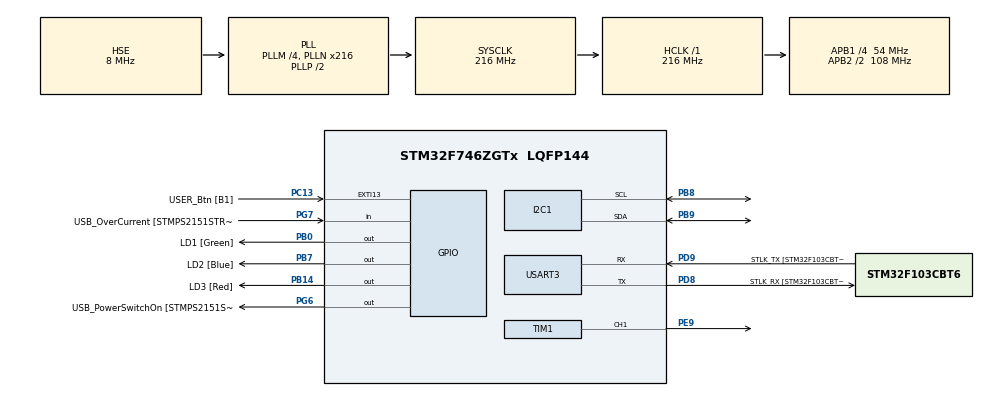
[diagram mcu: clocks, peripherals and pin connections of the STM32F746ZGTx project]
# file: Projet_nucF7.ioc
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I2C1.Timing=0x20404768
Mcu.Family=STM32F7
Mcu.Name=STM32F746ZGTx
Mcu.Package=LQFP144
NVIC.PriorityGroup=NVIC_PRIORITYGROUP_4
NVIC.USART3_IRQn=true\:0\:0\:false\:false\:true\:true\:true\:true
PA1.GPIO_Label=RMII_REF_CLK [LAN8742A-CZ-TR_REFCLK0]
PA1.Signal=ETH_REF_CLK
PA10.GPIO_Label=USB_ID
PA10.Signal=USB_OTG_FS_ID
PA11.GPIO_Label=USB_DM
PA11.Signal=USB_OTG_FS_DM
PA12.GPIO_Label=USB_DP
PA12.Signal=USB_OTG_FS_DP
PA13.GPIO_Label=TMS
PA13.Mode=Serial_Wire
PA13.Signal=SYS_JTMS-SWDIO
PA14.GPIO_Label=TCK
PA14.Mode=Serial_Wire
PA14.Signal=SYS_JTCK-SWCLK
PA2.GPIO_Label=RMII_MDIO [LAN8742A-CZ-TR_MDIO]
PA2.Signal=ETH_MDIO
PA7.GPIO_Label=RMII_CRS_DV [LAN8742A-CZ-TR_CRS_DV]
PA7.Signal=ETH_CRS_DV
PA8.GPIO_Label=USB_SOF [TP1]
PA8.Signal=USB_OTG_FS_SOF
PA9.GPIO_Label=USB_VBUS
PA9.Signal=USB_OTG_FS_VBUS
PB0.GPIO_Label=LD1 [Green]
PB0.Signal=GPIO_Output
PB13.GPIO_Label=RMII_TXD1 [LAN8742A-CZ-TR_TXD1]
PB13.Signal=ETH_TXD1
PB14.GPIO_Label=LD3 [Red]
PB14.Signal=GPIO_Output
PB3.GPIO_Label=SW0
PB3.Signal=SYS_JTDO-SWO
PB7.GPIO_Label=LD2 [Blue]
PB7.Signal=GPIO_Output
PB8.Mode=I2C
PB8.Signal=I2C1_SCL
PB9.Mode=I2C
PB9.Signal=I2C1_SDA
PC1.GPIO_Label=RMII_MDC [LAN8742A-CZ-TR_MDC]
PC1.Signal=ETH_MDC
PC13.GPIO_Label=USER_Btn [B1]
PC13.Signal=GPXTI13
PC14/OSC32_IN.Mode=LSE-External-Oscillator
PC14/OSC32_IN.Signal=RCC_OSC32_IN
PC15/OSC32_OUT.Mode=LSE-External-Oscillator
PC15/OSC32_OUT.Signal=RCC_OSC32_OUT
PC4.GPIO_Label=RMII_RXD0 [LAN8742A-CZ-TR_RXD0]
PC4.Signal=ETH_RXD0
PC5.GPIO_Label=RMII_RXD1 [LAN8742A-CZ-TR_RXD1]
PC5.Signal=ETH_RXD1
PD8.GPIO_Label=STLK_RX [STM32F103CBT6_PA3]
PD8.GPIO_PuPd=GPIO_PULLUP
PD8.Mode=Asynchronous
PD8.Signal=USART3_TX
PD9.GPIO_Label=STLK_TX [STM32F103CBT6_PA2]
PD9.GPIO_PuPd=GPIO_PULLUP
PD9.Mode=Asynchronous
PD9.Signal=USART3_RX
PE9.Signal=S_TIM1_CH1
PG11.GPIO_Label=RMII_TX_EN [LAN8742A-CZ-TR_TXEN]
PG11.Signal=ETH_TX_EN
PG13.GPIO_Label=RMII_TXD0 [LAN8742A-CZ-TR_TXD0]
PG13.Signal=ETH_TXD0
PG6.GPIO_Label=USB_PowerSwitchOn [STMPS2151STR_EN]
PG6.Signal=GPIO_Output
PG7.GPIO_Label=USB_OverCurrent [STMPS2151STR_FAULT]
PG7.Signal=GPIO_Input
PH0/OSC_IN.GPIO_Label=MCO [STM32F103CBT6_PA8]
PH0/OSC_IN.Mode=HSE-External-Clock-Source
PH0/OSC_IN.Signal=RCC_OSC_IN
PH1/OSC_OUT.Mode=HSE-External-Clock-Source
PH1/OSC_OUT.Signal=RCC_OSC_OUT
ProjectManager.HeapSize=0x200
ProjectManager.StackSize=0x400
ProjectManager.TargetToolchain=STM32CubeIDE
RCC.48MHZClocksFreq_Value=24000000
RCC.AHBFreq_Value=216000000
RCC.APB1CLKDivider=RCC_HCLK_DIV4
RCC.APB1Freq_Value=54000000
RCC.APB1TimFreq_Value=108000000
RCC.APB2CLKDivider=RCC_HCLK_DIV2
RCC.APB2Freq_Value=108000000
RCC.APB2TimFreq_Value=216000000
RCC.CortexFreq_Value=216000000
RCC.HCLKFreq_Value=216000000
RCC.HSE_VALUE=8000000
RCC.HSI_VALUE=16000000
RCC.PLLM=4
RCC.PLLMUL=RCC_PLL_MUL9
RCC.PLLN=216
RCC.PLLQ=3
RCC.PLLSourceVirtual=RCC_PLLSOURCE_HSE
RCC.PRESCALERUSB=RCC_USBCLKSOURCE_PLL_DIV1_5
RCC.SYSCLKFreq_VALUE=216000000
RCC.SYSCLKSource=RCC_SYSCLKSOURCE_PLLCLK
RCC.SYSCLKSourceVirtual=RCC_SYSCLKSOURCE_PLLCLK
RCC.USBFreq_Value=144000000
RCC.VCOOutputFreq_Value=432000000
SH.S_TIM1_CH1.0=TIM1_CH1,PWM Generation1 CH1
TIM1.Channel-PWM\ Generation1\ CH1=TIM_CHANNEL_1
TIM1.Period=1000-1
TIM1.Prescaler=216-1
TIM1.Pulse-PWM\ Generation1\ CH1=500
USART3.VirtualMode-Asynchronous=VM_ASYNC
VP_TIM1_VS_ClockSourceINT.Mode=Internal
board=NUCLEO-F746ZG

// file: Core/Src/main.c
/* USER CODE BEGIN Header */
/**
  ******************************************************************************
  * @file           : main.c
  * @brief          : Main program body
  ******************************************************************************
  * @attention
  *
  * Copyright (c) 2025 STMicroelectronics.
  * All rights reserved.
  *
  * This software is licensed under terms that can be found in the LICENSE file
  * in the root directory of this software component.
  * If no LICENSE file comes with this software, it is provided AS-IS.
  *
  ******************************************************************************
  */
/* USER CODE END Header */
#include "main.h"
#include "i2c.h"
#include "tim.h"
#include "usart.h"
#include "gpio.h"

/* USER CODE BEGIN Includes */
#include "pwm.h"

#include "pid_controller_config.h"

#include "scd30.h"
#include "scd30_app.h"

#include <string.h>

/* USER CODE END Includes */

/* USER CODE BEGIN PTD */

typedef struct {
  float measurement;
  float reference;
  float control;
} SWV_TypeDef;

/* USER CODE END PTD */

/* USER CODE BEGIN PV */

float setpoint = 35.0f;  // Value want [degC]
float duty = 50.0f;

uint16_t interval_in_seconds = 1;

uint8_t rxBuffer[5] = {0};
char txBuffer[256];

PWM_Handle_TypeDef PWM1_CH1={
		.Timer = &htim1,
		.Channel = TIM_CHANNEL_1,
		.Duty = 50.0f  // in %
};

SWV_TypeDef swv={
		.reference = 35.0f,
		.measurement = 0.0f,
		.control = 0.0f
};

/* USER CODE END PV */

void SystemClock_Config(void);

/* USER CODE BEGIN 0 */

void HAL_UART_RxCpltCallback(UART_HandleTypeDef *huart) // Msg form "T235" = Temp 23,5°C
{
    if (huart->Instance == USART3)
    {
        rxBuffer[sizeof(rxBuffer) - 1] = '\0';  // Ensure the buffer is null-terminated
        char prefix = rxBuffer[0];              // The first character indicates the command type (P or T)
        char data[4] = {0};                     // Array to store numeric data

        // Extract numeric data after the prefix
        strncpy(data, (char*)rxBuffer + 1, 3);  // Copy the 3 characters following the prefix
        data[3] = '\0';                         // Properly terminate the string

        char* endPtr;
        float value = strtol(data, &endPtr, 10); // Convert the numeric value
        value = value / 10.0;
        if (*endPtr == '\0') // Check if the conversion is valid
        {
            if (prefix == 'P' && value >= 0 && value <= 100)  // PWM command
            {
                PWM_WriteDuty(&PWM1_CH1,  value);    // Apply the PWM command

            }
            else if (prefix == 'T' && value >= 0 && value <= 100) // Temperature command
            {
                setpoint = value;  // Divide by 10 to get the temperature in °C
                swv.reference = value;
            }
        }

        // Reactivate UART reception
        HAL_UART_Receive_IT(&huart3, rxBuffer, sizeof(rxBuffer) - 1);
    }
}

/* USER CODE END 0 */

int main(void)
{

  /* MCU Configuration--------------------------------------------------------*/

  /* Reset of all peripherals, Initializes the Flash interface and the Systick. */
  HAL_Init();

  /* Configure the system clock */
  SystemClock_Config();

  /* Initialize all configured peripherals */
  MX_GPIO_Init();
  MX_USART3_UART_Init();
  MX_I2C1_Init();
  MX_TIM1_Init();
  /* USER CODE BEGIN 2 */

  //----------- INITIALISATION -----------//
  HAL_UART_Receive_IT(&huart3, rxBuffer, sizeof(rxBuffer)-1);

  PWM_Init(&PWM1_CH1);

  PID_Init(&hpid1);

  sensirion_i2c_init();
  scd_Setup();
  //----------- ------------- -----------//

  /* USER CODE END 2 */

  /* Infinite loop */
  /* USER CODE BEGIN WHILE */
  while (1)
    {
  	  float co2_ppm = 0.0f;
  	  float temperature = 0.0f;
  	  float relative_humidity = 0.0f;

  	  int8_t result = scd_WaitForAndReadSensorData(
  			  interval_in_seconds,
  			  &co2_ppm, &temperature,
  			  &relative_humidity);

  	  if (result != 0) {
  		  printf("Error: Failed to retrieve sensor data. Retrying...\n");
  		  HAL_Delay(interval_in_seconds*1000); 				// Wait before retrying
  	      continue;
  	  }
  	  //----------- PID COMPUTING -----------//

  	  duty = PID_GetOutput(&hpid1, setpoint, temperature);	// Compute the new PWM value
  	  PWM_WriteDuty(&PWM1_CH1, duty);						// Set the new PWM

  	  //----------- ------------- -----------//

  	  swv.control = duty;
  	  swv.measurement = temperature;

  	  HAL_Delay(10);

  	  sprintf(txBuffer,"Duty : %0.2f, "
  			  "Set point [degC] : %0.2f, "
  			  "Current [degC] : %0.2f\r\n",
  			  swv.control, swv.reference, swv.measurement
  	   );
  	  //sprintf(txBuffer,"%0.2f", swv.measurement);
  	  UART3_SendString(txBuffer);

  	  HAL_Delay(interval_in_seconds*1000);					// Wait for 1s

    /* USER CODE END WHILE */

    /* USER CODE BEGIN 3 */
    }
    scd30_stop_periodic_measurement();
    return 0;
  /* USER CODE END 3 */
}

void SystemClock_Config(void)
{
  RCC_OscInitTypeDef RCC_OscInitStruct = {0};
  RCC_ClkInitTypeDef RCC_ClkInitStruct = {0};

  /** Configure LSE Drive Capability
  */
  HAL_PWR_EnableBkUpAccess();

  /** Configure the main internal regulator output voltage
  */
  __HAL_RCC_PWR_CLK_ENABLE();
  __HAL_PWR_VOLTAGESCALING_CONFIG(PWR_REGULATOR_VOLTAGE_SCALE1);

  /** Initializes the RCC Oscillators according to the specified parameters
  * in the RCC_OscInitTypeDef structure.
  */
  RCC_OscInitStruct.OscillatorType = RCC_OSCILLATORTYPE_HSE;
  RCC_OscInitStruct.HSEState = RCC_HSE_BYPASS;
  RCC_OscInitStruct.PLL.PLLState = RCC_PLL_ON;
  RCC_OscInitStruct.PLL.PLLSource = RCC_PLLSOURCE_HSE;
  RCC_OscInitStruct.PLL.PLLM = 4;
  RCC_OscInitStruct.PLL.PLLN = 216;
  RCC_OscInitStruct.PLL.PLLP = RCC_PLLP_DIV2;
  RCC_OscInitStruct.PLL.PLLQ = 3;
  if (HAL_RCC_OscConfig(&RCC_OscInitStruct) != HAL_OK)
  {
    Error_Handler();
  }

  /** Activate the Over-Drive mode
  */
  if (HAL_PWREx_EnableOverDrive() != HAL_OK)
  {
    Error_Handler();
  }

  /** Initializes the CPU, AHB and APB buses clocks
  */
  RCC_ClkInitStruct.ClockType = RCC_CLOCKTYPE_HCLK|RCC_CLOCKTYPE_SYSCLK
                              |RCC_CLOCKTYPE_PCLK1|RCC_CLOCKTYPE_PCLK2;
  RCC_ClkInitStruct.SYSCLKSource = RCC_SYSCLKSOURCE_PLLCLK;
  RCC_ClkInitStruct.AHBCLKDivider = RCC_SYSCLK_DIV1;
  RCC_ClkInitStruct.APB1CLKDivider = RCC_HCLK_DIV4;
  RCC_ClkInitStruct.APB2CLKDivider = RCC_HCLK_DIV2;

  if (HAL_RCC_ClockConfig(&RCC_ClkInitStruct, FLASH_LATENCY_7) != HAL_OK)
  {
    Error_Handler();
  }
}

void Error_Handler(void)
{
  __disable_irq();
  while (1)
  {
  }
}
